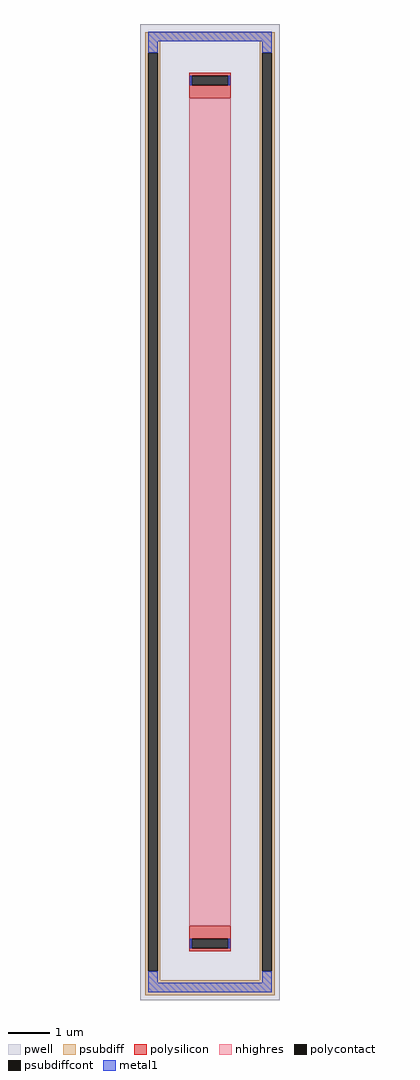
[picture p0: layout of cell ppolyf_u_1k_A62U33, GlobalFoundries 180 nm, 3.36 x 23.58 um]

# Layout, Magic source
magic
tech gf180mcuD
magscale 1 10
<< pwell >>
rect -336 -2358 336 2358
<< psubdiff >>
rect -312 2274 312 2318
rect -312 2218 -240 2274
rect -312 -2218 -299 2218
rect -253 -2218 -240 2218
rect 240 2218 312 2274
rect -312 -2262 -240 -2218
rect 240 -2218 253 2218
rect 299 -2218 312 2218
rect 240 -2262 312 -2218
rect -312 -2334 312 -2262
<< psubdiffcont >>
rect -299 -2218 -253 2218
rect 253 -2218 299 2218
<< polysilicon >>
rect -100 2109 100 2122
rect -100 2063 -87 2109
rect 87 2063 100 2109
rect -100 2000 100 2063
rect -100 -2063 100 -2000
rect -100 -2109 -87 -2063
rect 87 -2109 100 -2063
rect -100 -2122 100 -2109
<< polycontact >>
rect -87 2063 87 2109
rect -87 -2109 87 -2063
<< nhighres >>
rect -100 -2000 100 2000
<< metal1 >>
rect -299 2275 299 2321
rect -299 2218 -253 2275
rect 253 2218 299 2275
rect -98 2063 -87 2109
rect 87 2063 98 2109
rect -98 -2109 -87 -2063
rect 87 -2109 98 -2063
rect -299 -2275 -253 -2218
rect 253 -2275 299 -2218
rect -299 -2321 299 -2275
<< properties >>
string FIXED_BBOX -276 -2298 276 2298
string gencell ppolyf_u_1k
string library gf180mcu
string parameters w 1.0 l 20.0 m 1 nx 1 wmin 1.000 lmin 1.000 class resistor rho 1000 val 20.61k dummy 0 dw 0.0296 term 0.0 sterm 0.0 caplen 0.4 snake 0 glc 1 grc 1 gtc 0 gbc 0 roverlap 0 endcov 100 full_metal 1 guard 1 guard_type pwell compatible {ppolyf_u_1k ppolyf_u_1k_6p0}
<< end >>
